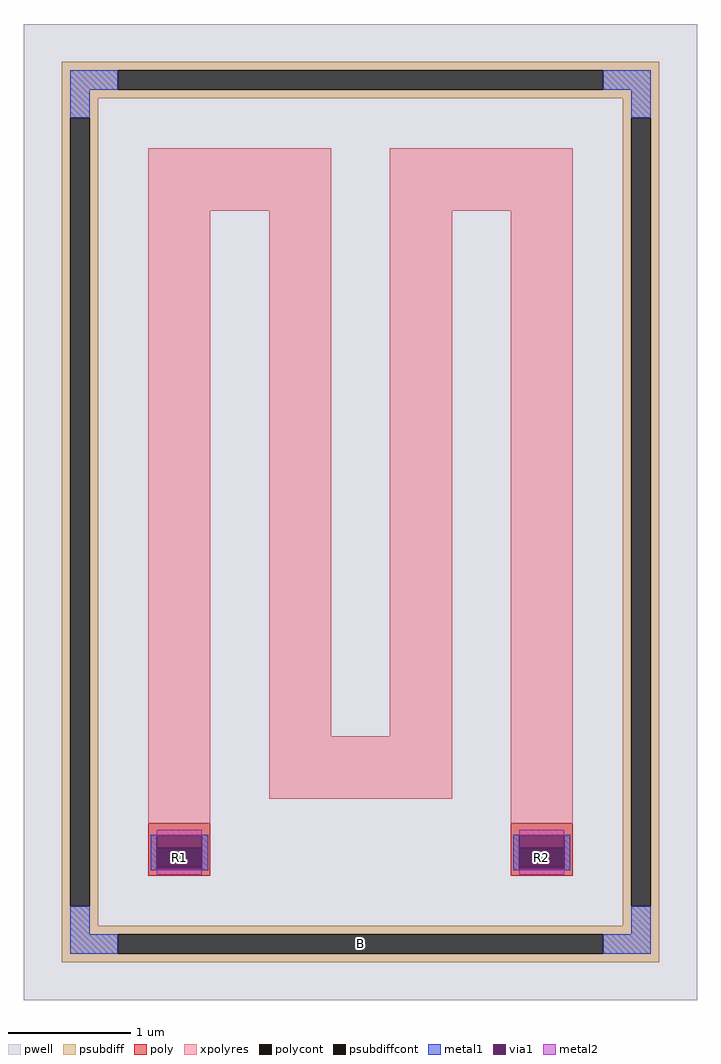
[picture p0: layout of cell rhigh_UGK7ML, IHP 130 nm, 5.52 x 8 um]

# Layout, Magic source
magic
tech ihp-sg13g2
magscale 1 2
<< pwell >>
rect -552 -800 552 800
<< psubdiff >>
rect -490 724 490 738
rect -490 692 -398 724
rect 398 692 490 724
rect -490 678 490 692
rect -490 646 -430 678
rect -490 -646 -476 646
rect -444 -646 -430 646
rect 430 646 490 678
rect -490 -678 -430 -646
rect 430 -646 444 646
rect 476 -646 490 646
rect 430 -678 490 -646
rect -490 -692 490 -678
rect -490 -724 -398 -692
rect 398 -724 490 -692
rect -490 -738 490 -724
<< psubdiffcont >>
rect -398 692 398 724
rect -476 -646 -444 646
rect 444 -646 476 646
rect -398 -724 398 -692
<< poly >>
rect -348 -550 -246 -510
rect -348 -582 -334 -550
rect -260 -582 -246 -550
rect -348 -596 -246 -582
rect 246 -550 348 -510
rect 246 -582 260 -550
rect 334 -582 348 -550
rect 246 -596 348 -582
<< polycont >>
rect -334 -582 -260 -550
rect 260 -582 334 -550
<< xpolyres >>
rect -348 494 -48 596
rect -348 -510 -246 494
rect -150 -368 -48 494
rect 48 494 348 596
rect 48 -368 150 494
rect -150 -470 150 -368
rect 246 -510 348 494
<< metal1 >>
rect -476 692 -398 724
rect 398 692 476 724
rect -476 646 -444 692
rect 444 646 476 692
rect -344 -530 -250 -529
rect -344 -586 -334 -530
rect -260 -586 -250 -530
rect -344 -587 -250 -586
rect 250 -530 344 -529
rect 250 -586 260 -530
rect 334 -586 344 -530
rect 250 -587 344 -586
rect -476 -692 -444 -646
rect 444 -692 476 -646
rect -476 -724 -398 -692
rect 398 -724 476 -692
<< via1 >>
rect -334 -550 -260 -530
rect -334 -582 -260 -550
rect -334 -586 -260 -582
rect 260 -550 334 -530
rect 260 -582 334 -550
rect 260 -586 334 -582
<< metal2 >>
rect -334 -530 -260 -521
rect -334 -595 -260 -586
rect 260 -530 334 -521
rect 260 -595 334 -586
<< labels >>
rlabel psubdiffcont 0 -708 0 -708 0 B
port 1 nsew
rlabel polycont -297 -566 -297 -566 0 R1
port 2 nsew
rlabel polycont 297 -566 297 -566 0 R2
port 3 nsew
<< properties >>
string FIXED_BBOX -460 -708 460 708
string gencell rhigh
string library sg13g2
string parameters w 0.51 l 5.328 m 1 nx 4 wmin 0.50 lmin 0.50 class resistor rho 1360 val 60.912k dummy 0 dw 0.0 term 0.0 sterm 0.0 caplen 0 guard 1 glc 1 grc 1 gtc 1 gbc 1 snake 1 full_metal 1 n_guard 0 hv_guard 0 vias 1 viagb 0 viagt 0 viagl 0 viagr 0 doports 1
<< end >>
